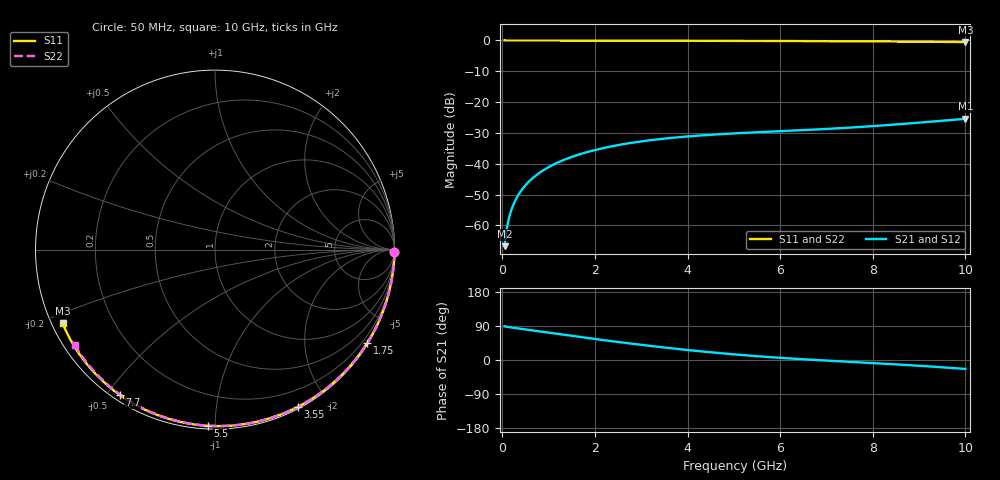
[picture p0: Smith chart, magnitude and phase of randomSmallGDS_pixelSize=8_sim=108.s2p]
! freq	dB(S11)	phase(S11)	dB(S12)	phase(S12)
!  dB(S21)	phase(S21)	dB(S22)	phase(S22)
!S-par simulation data
#  GHz  S  DB  R 50
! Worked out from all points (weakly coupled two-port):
!   200 points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, 50 MHz to 10 GHz, reference 50 ohm
!   highest |S21| = -25.43 dB at 10 GHz (marker M1); lowest = -66.8 dB at 50 MHz (marker M2)
!   lowest |S11| = -0.5 dB at 10 GHz (marker M3), VSWR 34.12, Z = 1.54 - j11.5 ohm
!   |S11| at or under -10 dB: nowhere
!   |S22| runs from -0.5 to 0.0 dB; largest |S21 - S12| = 0
!   S11 on the Smith chart (normalised r, x): 50 MHz: open; 1.75 GHz: 0.03, -3.54; 3.55 GHz: 0.02, -1.66; 5.5 GHz: 0.02, -0.96; 7.7 GHz: 0.02, -0.54; 10 GHz: 0.03, -0.23
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0.05  -0.00 -0.9  -66.75 88.8  -66.75 88.8  -0.00 -0.9
0.1  -0.00 -1.8  -60.76 87.7  -60.76 87.7  -0.00 -1.7
0.15  -0.00 -2.8  -57.28 86.6  -57.28 86.6  -0.00 -2.6
0.2  -0.00 -3.7  -54.81 85.7  -54.81 85.7  -0.00 -3.5
0.25  -0.00 -4.6  -52.90 84.8  -52.90 84.8  -0.00 -4.3
0.35  -0.00 -6.4  -50.03 83.1  -50.03 83.1  -0.00 -6.0
0.5  -0.01 -9.2  -46.98 80.6  -46.98 80.6  -0.01 -8.6
0.7  -0.01 -12.8  -44.11 77.2  -44.11 77.2  -0.01 -12.0
1  -0.02 -18.2  -41.11 72.1  -41.11 72.1  -0.02 -17.1
1.35  -0.03 -24.5  -38.64 66.2  -38.64 66.2  -0.03 -23.0
1.75  -0.04 -31.5  -36.58 59.6  -36.58 59.6  -0.04 -29.7
2.5  -0.06 -44.5  -33.95 47.6  -33.95 47.6  -0.06 -41.9
3.4  -0.08 -59.6  -32.01 34.3  -32.01 34.3  -0.08 -56.2
3.55  -0.09 -62.1  -31.77 32.3  -31.77 32.3  -0.08 -58.5
4.3  -0.11 -74.1  -30.81 22.7  -30.81 22.7  -0.10 -69.9
5.05  -0.13 -85.6  -30.13 14.4  -30.13 14.4  -0.13 -80.8
5.5  -0.15 -92.3  -29.79 10.0  -29.79 10.0  -0.14 -87.2
6.7  -0.21 -109.5  -28.95 0.5  -28.95 0.5  -0.20 -103.6
7.7  -0.28 -123.3  -28.10 -6.1  -28.10 -6.1  -0.27 -116.7
8.35  -0.34 -132.1  -27.42 -10.4  -27.42 -10.4  -0.32 -125.0
9.2  -0.42 -143.4  -26.43 -16.8  -26.43 -16.8  -0.40 -135.8
10  -0.51 -154.1  -25.43 -23.5  -25.43 -23.5  -0.49 -145.8
